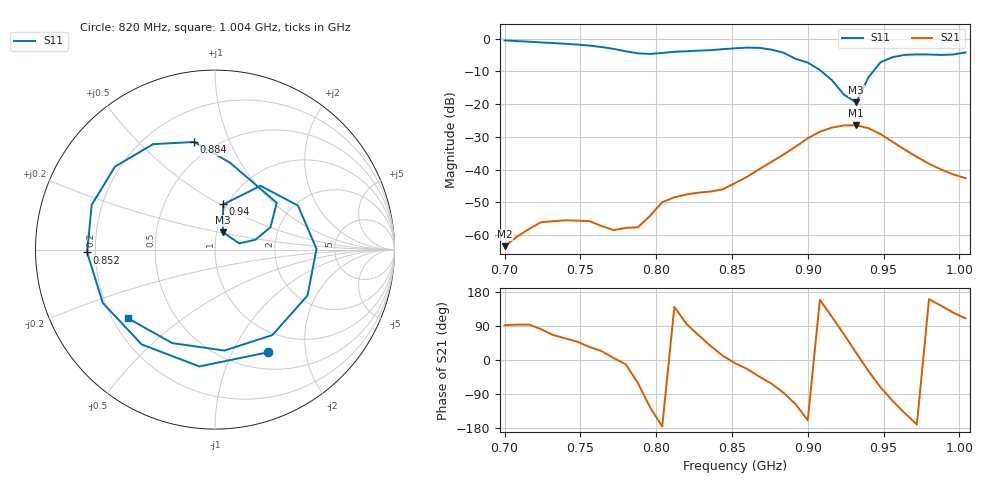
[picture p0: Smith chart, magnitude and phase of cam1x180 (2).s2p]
# Hz S RI R 50
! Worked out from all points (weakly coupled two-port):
!   39 points, 700 MHz to 1.004 GHz, reference 50 ohm
!   highest |S21| = -26.45 dB at 932 MHz (marker M1); lowest = -63.4 dB at 700 MHz (marker M2)
!   lowest |S11| = -19.4 dB at 932 MHz (marker M3), VSWR 1.24, Z = 53.5 + j10.5 ohm
!   |S11| at or under -10 dB: 909.1 MHz to 943.2 MHz (34.02 MHz wide, 3.67 % of centre)
!   S12 and S22 are empty: the file has one direction only
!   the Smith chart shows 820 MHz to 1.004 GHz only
!   S11 on the Smith chart (normalised r, x): 820 MHz: 0.71, -1.38; 852 MHz: 0.17, -0.01; 884 MHz: 0.39, +0.75; 940 MHz: 0.96, +0.52; 1.004 GHz: 0.26, -0.33
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7e8  0.761 0.5518  -2.18e-05 0.000677  0 0  0 0
7.24e8  0.8414 -0.2457  0.000235 0.00155  0 0  0 0
7.4e8  0.4573 -0.7012  0.000911 0.00141  0 0  0 0
7.56e8  -0.1913 -0.7607  0.00135 0.000924  0 0  0 0
7.72e8  -0.6679 -0.2039  0.00119 0.000106  0 0  0 0
7.8e8  -0.601 0.2231  0.00126 -0.000258  0 0  0 0
7.88e8  -0.2611 0.5375  0.000634 -0.00116  0 0  0 0
7.96e8  0.2278 0.539  -0.00114 -0.0016  0 0  0 0
8.04e8  0.5733 0.1975  -0.00318 -0.000252  0 0  0 0
8.2e8  0.2928 -0.5727  -0.000363 0.00416  0 0  0 0
8.36e8  -0.4083 -0.5284  0.00371 0.00277  0 0  0 0
8.52e8  -0.7126 -0.0158  0.00616 -0.000895  0 0  0 0
8.68e8  -0.5574 0.4622  0.00731 -0.00704  0 0  0 0
8.84e8  -0.116 0.5997  0.00104 -0.0169  0 0  0 0
9e8  0.3441 0.2609  -0.0282 -0.0107  0 0  0 0
9.08e8  0.3091 0.1243  -0.0353 0.0137  0 0  0 0
9.32e8  0.0434 0.0973  0.0451 0.0151  0 0  0 0
9.4e8  0.046 0.2519  0.0376 -0.0207  0 0  0 0
9.56e8  0.4627 0.2449  -0.00822 -0.0252  0 0  0 0
9.64e8  0.5655 0.0034  -0.0155 -0.0129  0 0  0 0
9.8e8  0.3194 -0.4762  -0.0116 0.00409  0 0  0 0
1.004e9  -0.483 -0.3837  -0.00255 0.00696  0 0  0 0
